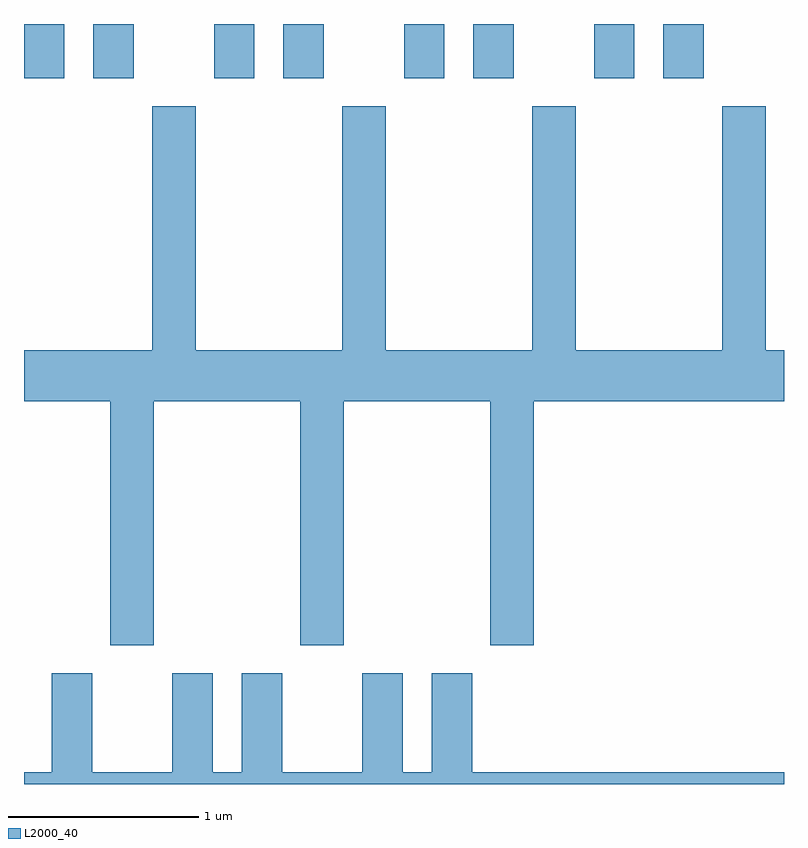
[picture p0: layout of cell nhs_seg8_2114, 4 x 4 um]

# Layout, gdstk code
import gdstk
lib = gdstk.Library(unit=1e-6, precision=1e-09)
def R(c, l, rs):  # rectangles x0, y0, x1, y1
    for r in rs: c.add(gdstk.rectangle(r[:2], r[2:], *l))
def P(c, l, *ps):  # polygons
    for p in ps: c.add(gdstk.Polygon(p, *l))
L2000_40 = (2000, 40)

nhs_seg8_2114 = lib.new_cell('nhs_seg8_2114')
R(nhs_seg8_2114, L2000_40, [(247.611,1898.056,247.824,1898.342), (247.976,1898.056,248.189,1898.342), (248.611,1898.056,248.824,1898.342), (248.976,1898.056,249.189,1898.342), (249.611,1898.056,249.824,1898.342), (249.976,1898.056,250.189,1898.342), (250.611,1898.056,250.824,1898.342), (250.976,1898.056,251.189,1898.342)])
P(nhs_seg8_2114, L2000_40, [(248.294,1896.356),(249.066,1896.356),(249.066,1895.071),(249.294,1895.071),(249.294,1896.356),(250.066,1896.356),(250.066,1895.071),(250.294,1895.071),(250.294,1896.356),(251.611,1896.356),(251.611,1896.624),(251.514,1896.624),(251.514,1897.909),(251.286,1897.909),(251.286,1896.624),(250.514,1896.624),(250.514,1897.909),(250.286,1897.909),(250.286,1896.624),(249.514,1896.624),(249.514,1897.909),(249.286,1897.909),(249.286,1896.624),(248.514,1896.624),(248.514,1897.909),(248.286,1897.909),(248.286,1896.624),(247.611,1896.624),(247.611,1896.356),(248.066,1896.356),(248.066,1895.071),(248.294,1895.071)],
  [(251.611,1894.404),(249.969,1894.404),(249.969,1894.924),(249.756,1894.924),(249.756,1894.404),(249.604,1894.404),(249.604,1894.924),(249.391,1894.924),(249.391,1894.404),(248.969,1894.404),(248.969,1894.924),(248.756,1894.924),(248.756,1894.404),(248.604,1894.404),(248.604,1894.924),(248.391,1894.924),(248.391,1894.404),(247.969,1894.404),(247.969,1894.924),(247.756,1894.924),(247.756,1894.404),(247.611,1894.404),(247.611,1894.342),(251.611,1894.342)])

lib.write_gds('nhs_seg8_2114.gds')
